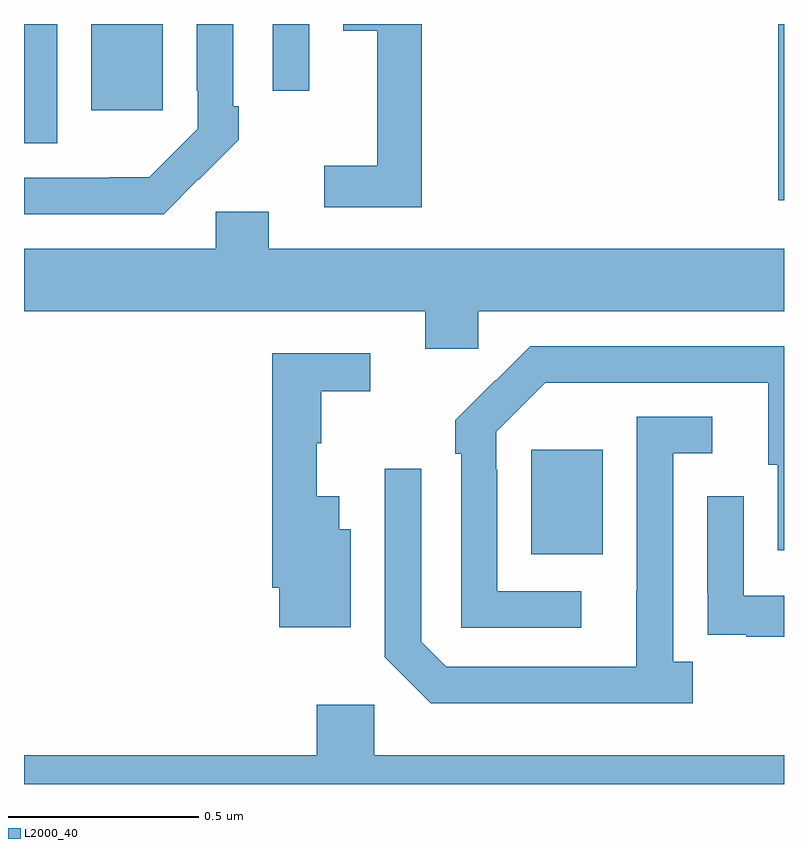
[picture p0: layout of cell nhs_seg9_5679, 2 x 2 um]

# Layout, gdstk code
import gdstk
lib = gdstk.Library(unit=1e-6, precision=1e-09)
def R(c, l, rs):  # rectangles x0, y0, x1, y1
    for r in rs: c.add(gdstk.rectangle(r[:2], r[2:], *l))
def P(c, l, *ps):  # polygons
    for p in ps: c.add(gdstk.Polygon(p, *l))
L2000_40 = (2000, 40)

nhs_seg9_5679 = lib.new_cell('nhs_seg9_5679')
R(nhs_seg9_5679, L2000_40, [(183.335,1205.105,183.523,1205.38), (183.985,1206.036,184,1206.5), (182,1206.186,182.088,1206.5), (182.177,1206.273,182.365,1206.5), (182.655,1206.324,182.751,1206.5)])
P(nhs_seg9_5679, L2000_40, [(182.459,1206.091),(182.46,1206.09),(182.565,1206.195),(182.565,1206.283),(182.55,1206.283),(182.55,1206.5),(182.454,1206.5),(182.454,1206.325),(182.457,1206.325),(182.457,1206.225),(182.329,1206.097),(182.225,1206.097),(182.225,1206.096),(182,1206.096),(182,1206),(182.368,1206)],
  [(183.047,1206.5),(182.84,1206.5),(182.84,1206.482),(182.93,1206.482),(182.93,1206.127),(182.79,1206.127),(182.79,1206.018),(183.047,1206.018)],
  [(183.195,1205.744),(184,1205.744),(184,1205.908),(182.644,1205.908),(182.644,1206.006),(182.505,1206.006),(182.505,1205.908),(182,1205.908),(182,1205.744),(183.056,1205.744),(183.056,1205.646),(183.195,1205.646)],
  [(183.466,1205.007),(183.246,1205.007),(183.246,1205.327),(183.243,1205.327),(183.243,1205.427),(183.372,1205.556),(183.959,1205.556),(183.959,1205.34),(183.983,1205.34),(183.983,1205.115),(184,1205.115),(184,1205.652),(183.332,1205.652),(183.241,1205.561),(183.24,1205.562),(183.135,1205.457),(183.135,1205.369),(183.15,1205.369),(183.15,1204.911),(183.466,1204.911)],
  [(182.86,1205.17),(182.83,1205.17),(182.83,1205.257),(182.771,1205.257),(182.771,1205.397),(182.782,1205.397),(182.782,1205.533),(182.911,1205.533),(182.911,1205.634),(182.653,1205.634),(182.653,1205.017),(182.672,1205.017),(182.672,1204.913),(182.86,1204.913)],
  [(183.76,1204.822),(183.708,1204.822),(183.708,1205.37),(183.811,1205.37),(183.811,1205.466),(183.612,1205.466),(183.612,1205.009),(183.611,1205.009),(183.611,1204.809),(183.111,1204.809),(183.045,1204.875),(183.045,1205.329),(182.949,1205.329),(182.949,1204.833),(183.07,1204.712),(183.76,1204.712)],
  [(184,1204.995),(183.894,1204.995),(183.894,1205.257),(183.798,1205.257),(183.798,1205.002),(183.799,1205.002),(183.799,1204.893),(183.901,1204.893),(183.901,1204.887),(184,1204.887)],
  [(184,1204.576),(182.922,1204.576),(182.922,1204.708),(182.771,1204.708),(182.771,1204.576),(182,1204.576),(182,1204.5),(184,1204.5)])

lib.write_gds('nhs_seg9_5679.gds')
